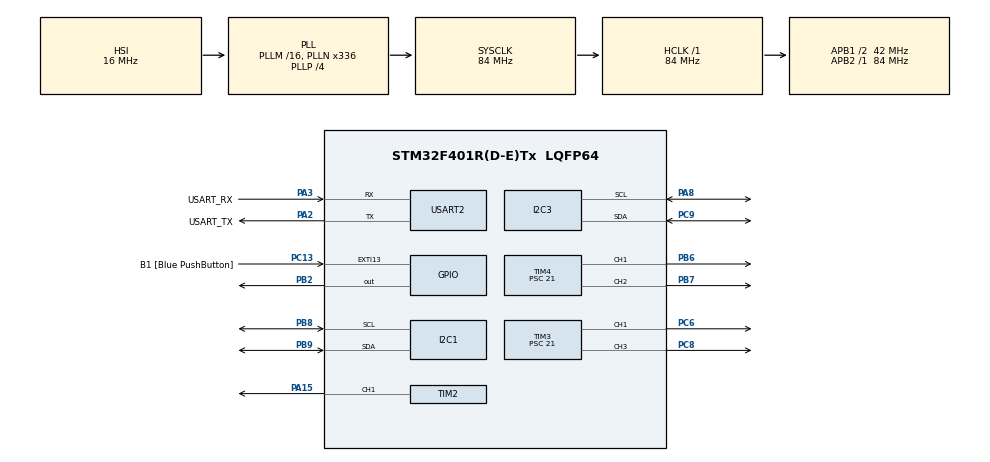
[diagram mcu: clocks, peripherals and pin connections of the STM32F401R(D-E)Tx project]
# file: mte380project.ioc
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Mcu.Family=STM32F4
Mcu.Name=STM32F401R(D-E)Tx
Mcu.Package=LQFP64
NVIC.EXTI15_10_IRQn=true\:0\:0\:false\:false\:true\:true\:true\:true
NVIC.PriorityGroup=NVIC_PRIORITYGROUP_0
PA13.GPIO_Label=TMS
PA13.Mode=Serial_Wire
PA13.Signal=SYS_JTMS-SWDIO
PA14.GPIO_Label=TCK
PA14.Mode=Serial_Wire
PA14.Signal=SYS_JTCK-SWCLK
PA15.Signal=S_TIM2_CH1_ETR
PA2.GPIO_Label=USART_TX
PA2.GPIO_Mode=GPIO_MODE_AF_PP
PA2.GPIO_PuPd=GPIO_NOPULL
PA2.GPIO_Speed=GPIO_SPEED_FREQ_LOW
PA2.Mode=Asynchronous
PA2.Signal=USART2_TX
PA3.GPIO_Label=USART_RX
PA3.GPIO_Mode=GPIO_MODE_AF_PP
PA3.GPIO_PuPd=GPIO_NOPULL
PA3.GPIO_Speed=GPIO_SPEED_FREQ_LOW
PA3.Mode=Asynchronous
PA3.Signal=USART2_RX
PA8.Mode=I2C
PA8.Signal=I2C3_SCL
PB2.Signal=GPIO_Output
PB3.GPIO_Label=SWO
PB3.Signal=SYS_JTDO-SWO
PB6.Signal=S_TIM4_CH1
PB7.Signal=S_TIM4_CH2
PB8.Mode=I2C
PB8.Signal=I2C1_SCL
PB9.Mode=I2C
PB9.Signal=I2C1_SDA
PC13-ANTI_TAMP.GPIO_Label=B1 [Blue PushButton]
PC13-ANTI_TAMP.GPIO_ModeDefaultEXTI=GPIO_MODE_IT_RISING_FALLING
PC13-ANTI_TAMP.GPIO_PuPd=GPIO_NOPULL
PC13-ANTI_TAMP.Signal=GPXTI13
PC14-OSC32_IN.Mode=LSE-External-Oscillator
PC14-OSC32_IN.Signal=RCC_OSC32_IN
PC15-OSC32_OUT.Mode=LSE-External-Oscillator
PC15-OSC32_OUT.Signal=RCC_OSC32_OUT
PC6.Signal=S_TIM3_CH1
PC8.Signal=S_TIM3_CH3
PC9.Mode=I2C
PC9.Signal=I2C3_SDA
PH0\ -\ OSC_IN.Mode=HSE-External-Clock-Source
PH0\ -\ OSC_IN.Signal=RCC_OSC_IN
PH1\ -\ OSC_OUT.Mode=HSE-External-Clock-Source
PH1\ -\ OSC_OUT.Signal=RCC_OSC_OUT
ProjectManager.HeapSize=0x200
ProjectManager.StackSize=0x400
ProjectManager.TargetToolchain=STM32CubeIDE
RCC.48MHZClocksFreq_Value=48000000
RCC.AHBFreq_Value=84000000
RCC.APB1CLKDivider=RCC_HCLK_DIV2
RCC.APB1Freq_Value=42000000
RCC.APB1TimFreq_Value=84000000
RCC.APB2Freq_Value=84000000
RCC.APB2TimFreq_Value=84000000
RCC.CortexFreq_Value=84000000
RCC.HCLKFreq_Value=84000000
RCC.HSE_VALUE=8000000
RCC.HSI_VALUE=16000000
RCC.PLLN=336
RCC.PLLP=RCC_PLLP_DIV4
RCC.PLLQ=7
RCC.SYSCLKFreq_VALUE=84000000
RCC.SYSCLKSource=RCC_SYSCLKSOURCE_PLLCLK
RCC.VCOOutputFreq_Value=336000000
SH.S_TIM2_CH1_ETR.0=TIM2_CH1,PWM Generation1 CH1
SH.S_TIM3_CH1.0=TIM3_CH1,PWM Generation1 CH1
SH.S_TIM3_CH3.0=TIM3_CH3,PWM Generation3 CH3
SH.S_TIM4_CH1.0=TIM4_CH1,PWM Generation1 CH1
SH.S_TIM4_CH2.0=TIM4_CH2,PWM Generation2 CH2
TIM1.Period=1000
TIM1.Prescaler=21
TIM2.Channel-PWM\ Generation1\ CH1=TIM_CHANNEL_1
TIM2.Period=100
TIM2.Prescaler=16800
TIM3.Channel-PWM\ Generation1\ CH1=TIM_CHANNEL_1
TIM3.Channel-PWM\ Generation3\ CH3=TIM_CHANNEL_3
TIM3.Period=1000
TIM3.Prescaler=21
TIM4.Channel-PWM\ Generation1\ CH1=TIM_CHANNEL_1
TIM4.Channel-PWM\ Generation2\ CH2=TIM_CHANNEL_2
TIM4.Period=1000
TIM4.Prescaler=21
USART2.VirtualMode=VM_ASYNC
VP_TIM1_VS_ClockSourceINT.Mode=Internal
VP_TIM2_VS_ClockSourceINT.Mode=Internal
VP_TIM3_VS_ClockSourceINT.Mode=Internal
VP_TIM4_VS_ClockSourceINT.Mode=Internal
board=NUCLEO-F401RE

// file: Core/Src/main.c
/* USER CODE BEGIN Header */
/**
  ******************************************************************************
  * @file           : main.c
  * @brief          : Main program body
  ******************************************************************************
  * @attention
  *
  * Copyright (c) 2023 STMicroelectronics.
  * All rights reserved.
  *
  * This software is licensed under terms that can be found in the LICENSE file
  * in the root directory of this software component.
  * If no LICENSE file comes with this software, it is provided AS-IS.
  *
  ******************************************************************************
  */
/* USER CODE END Header */
#include "main.h"

/* USER CODE BEGIN Includes */
#include <stdio.h>
#include <stdbool.h>
#include "tcs3472.h"
#include "fsm.h"
#include "control.h"
#include "common.h"
/* USER CODE END Includes */

/* USER CODE BEGIN PM */
#define COLOUR_COUNT_THRESH 3
#define SWLONG_TIME 1500U
/* USER CODE END PM */

I2C_HandleTypeDef hi2c1;
I2C_HandleTypeDef hi2c3;

TIM_HandleTypeDef htim1;
TIM_HandleTypeDef htim2;
TIM_HandleTypeDef htim3;
TIM_HandleTypeDef htim4;

UART_HandleTypeDef huart2;

/* USER CODE BEGIN PV */
volatile robot_state_e robotState = IDLE;
volatile static uint8_t swPinState = 1;
volatile static uint32_t swLastOnTime = 0;
/* USER CODE END PV */

void SystemClock_Config(void);
static void MX_GPIO_Init(void);
static void MX_USART2_UART_Init(void);
static void MX_TIM3_Init(void);
static void MX_TIM4_Init(void);
static void MX_TIM1_Init(void);
static void MX_I2C1_Init(void);
static void MX_TIM2_Init(void);
static void MX_I2C3_Init(void);

static void wait_for_button_press() {
    while (1) {
        while(HAL_GPIO_ReadPin(SW_PORT, SW_PIN));
        HAL_Delay(10);
        if (HAL_GPIO_ReadPin(SW_PORT, SW_PIN) == 0)
            return;
    }
}

int main(void)
{

  /* MCU Configuration--------------------------------------------------------*/

  /* Reset of all peripherals, Initializes the Flash interface and the Systick. */
  HAL_Init();

  /* Configure the system clock */
  SystemClock_Config();

  /* Initialize all configured peripherals */
  MX_GPIO_Init();
  MX_USART2_UART_Init();
  MX_TIM3_Init();
  MX_TIM4_Init();
  MX_TIM1_Init();
  MX_I2C1_Init();
  MX_TIM2_Init();
  MX_I2C3_Init();
  /* USER CODE BEGIN 2 */
  // Colour sensor initialization
  tcs3472_init(LEFT_COLOUR_SENSOR);
  tcs3472_init(RIGHT_COLOUR_SENSOR);

  // Motor initialization
  init_motors();

  /* USER CODE END 2 */

  /* Infinite loop */
  while (1)
  {

    /* USER CODE BEGIN 3 */
    switch(robotState) {
      case CALIB: {
        calibration_sequence();
        transition_state(&robotState, CALIB_CMPL);
        break;
      }
      case IDLE: {
    	  motor_command(0, 0);
        HAL_Delay(10);
        break;
      }
      case LFF: {
    	/*
        float leftColourData[3];
        float rightColourData[3];

        tcs3472_get_colour_data(LEFT_COLOUR_SENSOR, &leftColourData);
        tcs3472_get_colour_data(RIGHT_COLOUR_SENSOR, &rightColourData);

        serial_print("Left colour data: %f, %f, %f\r\n", leftColourData[0], leftColourData[1], leftColourData[2]);
        serial_print("Right colour data: %f, %f, %f\r\n", rightColourData[0], rightColourData[1], rightColourData[2]);
        serial_print("\r\n");
        HAL_Delay(300);
        */
        call_lf_sequence();
        break;
      }
      case GRPG: {
        call_grpg_sequence();
        transition_state(&robotState, GRPG_CMPL);
        break;
      }
    }
  }
  /* USER CODE END 3 */
}

void SystemClock_Config(void)
{
  RCC_OscInitTypeDef RCC_OscInitStruct = {0};
  RCC_ClkInitTypeDef RCC_ClkInitStruct = {0};

  /** Configure the main internal regulator output voltage
  */
  __HAL_RCC_PWR_CLK_ENABLE();
  __HAL_PWR_VOLTAGESCALING_CONFIG(PWR_REGULATOR_VOLTAGE_SCALE2);

  /** Initializes the RCC Oscillators according to the specified parameters
  * in the RCC_OscInitTypeDef structure.
  */
  RCC_OscInitStruct.OscillatorType = RCC_OSCILLATORTYPE_HSI;
  RCC_OscInitStruct.HSIState = RCC_HSI_ON;
  RCC_OscInitStruct.HSICalibrationValue = RCC_HSICALIBRATION_DEFAULT;
  RCC_OscInitStruct.PLL.PLLState = RCC_PLL_ON;
  RCC_OscInitStruct.PLL.PLLSource = RCC_PLLSOURCE_HSI;
  RCC_OscInitStruct.PLL.PLLM = 16;
  RCC_OscInitStruct.PLL.PLLN = 336;
  RCC_OscInitStruct.PLL.PLLP = RCC_PLLP_DIV4;
  RCC_OscInitStruct.PLL.PLLQ = 7;
  if (HAL_RCC_OscConfig(&RCC_OscInitStruct) != HAL_OK)
  {
    Error_Handler();
  }

  /** Initializes the CPU, AHB and APB buses clocks
  */
  RCC_ClkInitStruct.ClockType = RCC_CLOCKTYPE_HCLK|RCC_CLOCKTYPE_SYSCLK
                              |RCC_CLOCKTYPE_PCLK1|RCC_CLOCKTYPE_PCLK2;
  RCC_ClkInitStruct.SYSCLKSource = RCC_SYSCLKSOURCE_PLLCLK;
  RCC_ClkInitStruct.AHBCLKDivider = RCC_SYSCLK_DIV1;
  RCC_ClkInitStruct.APB1CLKDivider = RCC_HCLK_DIV2;
  RCC_ClkInitStruct.APB2CLKDivider = RCC_HCLK_DIV1;

  if (HAL_RCC_ClockConfig(&RCC_ClkInitStruct, FLASH_LATENCY_2) != HAL_OK)
  {
    Error_Handler();
  }
}

static void MX_I2C1_Init(void)
{

  hi2c1.Instance = I2C1;
  hi2c1.Init.ClockSpeed = 100000;
  hi2c1.Init.DutyCycle = I2C_DUTYCYCLE_2;
  hi2c1.Init.OwnAddress1 = 0;
  hi2c1.Init.AddressingMode = I2C_ADDRESSINGMODE_7BIT;
  hi2c1.Init.DualAddressMode = I2C_DUALADDRESS_DISABLE;
  hi2c1.Init.OwnAddress2 = 0;
  hi2c1.Init.GeneralCallMode = I2C_GENERALCALL_DISABLE;
  hi2c1.Init.NoStretchMode = I2C_NOSTRETCH_DISABLE;
  if (HAL_I2C_Init(&hi2c1) != HAL_OK)
  {
    Error_Handler();
  }

}

static void MX_I2C3_Init(void)
{

  hi2c3.Instance = I2C3;
  hi2c3.Init.ClockSpeed = 100000;
  hi2c3.Init.DutyCycle = I2C_DUTYCYCLE_2;
  hi2c3.Init.OwnAddress1 = 0;
  hi2c3.Init.AddressingMode = I2C_ADDRESSINGMODE_7BIT;
  hi2c3.Init.DualAddressMode = I2C_DUALADDRESS_DISABLE;
  hi2c3.Init.OwnAddress2 = 0;
  hi2c3.Init.GeneralCallMode = I2C_GENERALCALL_DISABLE;
  hi2c3.Init.NoStretchMode = I2C_NOSTRETCH_DISABLE;
  if (HAL_I2C_Init(&hi2c3) != HAL_OK)
  {
    Error_Handler();
  }

}

static void MX_TIM1_Init(void)
{

  TIM_ClockConfigTypeDef sClockSourceConfig = {0};
  TIM_MasterConfigTypeDef sMasterConfig = {0};

  htim1.Instance = TIM1;
  htim1.Init.Prescaler = 21;
  htim1.Init.CounterMode = TIM_COUNTERMODE_UP;
  htim1.Init.Period = 1000;
  htim1.Init.ClockDivision = TIM_CLOCKDIVISION_DIV1;
  htim1.Init.RepetitionCounter = 0;
  htim1.Init.AutoReloadPreload = TIM_AUTORELOAD_PRELOAD_DISABLE;
  if (HAL_TIM_Base_Init(&htim1) != HAL_OK)
  {
    Error_Handler();
  }
  sClockSourceConfig.ClockSource = TIM_CLOCKSOURCE_INTERNAL;
  if (HAL_TIM_ConfigClockSource(&htim1, &sClockSourceConfig) != HAL_OK)
  {
    Error_Handler();
  }
  sMasterConfig.MasterOutputTrigger = TIM_TRGO_RESET;
  sMasterConfig.MasterSlaveMode = TIM_MASTERSLAVEMODE_DISABLE;
  if (HAL_TIMEx_MasterConfigSynchronization(&htim1, &sMasterConfig) != HAL_OK)
  {
    Error_Handler();
  }

}

static void MX_TIM2_Init(void)
{

  TIM_ClockConfigTypeDef sClockSourceConfig = {0};
  TIM_MasterConfigTypeDef sMasterConfig = {0};
  TIM_OC_InitTypeDef sConfigOC = {0};

  htim2.Instance = TIM2;
  htim2.Init.Prescaler = 16800;
  htim2.Init.CounterMode = TIM_COUNTERMODE_UP;
  htim2.Init.Period = 100;
  htim2.Init.ClockDivision = TIM_CLOCKDIVISION_DIV1;
  htim2.Init.AutoReloadPreload = TIM_AUTORELOAD_PRELOAD_DISABLE;
  if (HAL_TIM_Base_Init(&htim2) != HAL_OK)
  {
    Error_Handler();
  }
  sClockSourceConfig.ClockSource = TIM_CLOCKSOURCE_INTERNAL;
  if (HAL_TIM_ConfigClockSource(&htim2, &sClockSourceConfig) != HAL_OK)
  {
    Error_Handler();
  }
  if (HAL_TIM_PWM_Init(&htim2) != HAL_OK)
  {
    Error_Handler();
  }
  sMasterConfig.MasterOutputTrigger = TIM_TRGO_RESET;
  sMasterConfig.MasterSlaveMode = TIM_MASTERSLAVEMODE_DISABLE;
  if (HAL_TIMEx_MasterConfigSynchronization(&htim2, &sMasterConfig) != HAL_OK)
  {
    Error_Handler();
  }
  sConfigOC.OCMode = TIM_OCMODE_PWM1;
  sConfigOC.Pulse = 0;
  sConfigOC.OCPolarity = TIM_OCPOLARITY_HIGH;
  sConfigOC.OCFastMode = TIM_OCFAST_DISABLE;
  if (HAL_TIM_PWM_ConfigChannel(&htim2, &sConfigOC, TIM_CHANNEL_1) != HAL_OK)
  {
    Error_Handler();
  }
  HAL_TIM_MspPostInit(&htim2);

}

static void MX_TIM3_Init(void)
{

  TIM_ClockConfigTypeDef sClockSourceConfig = {0};
  TIM_MasterConfigTypeDef sMasterConfig = {0};
  TIM_OC_InitTypeDef sConfigOC = {0};

  htim3.Instance = TIM3;
  htim3.Init.Prescaler = 21;
  htim3.Init.CounterMode = TIM_COUNTERMODE_UP;
  htim3.Init.Period = 1000;
  htim3.Init.ClockDivision = TIM_CLOCKDIVISION_DIV1;
  htim3.Init.AutoReloadPreload = TIM_AUTORELOAD_PRELOAD_DISABLE;
  if (HAL_TIM_Base_Init(&htim3) != HAL_OK)
  {
    Error_Handler();
  }
  sClockSourceConfig.ClockSource = TIM_CLOCKSOURCE_INTERNAL;
  if (HAL_TIM_ConfigClockSource(&htim3, &sClockSourceConfig) != HAL_OK)
  {
    Error_Handler();
  }
  if (HAL_TIM_PWM_Init(&htim3) != HAL_OK)
  {
    Error_Handler();
  }
  sMasterConfig.MasterOutputTrigger = TIM_TRGO_RESET;
  sMasterConfig.MasterSlaveMode = TIM_MASTERSLAVEMODE_DISABLE;
  if (HAL_TIMEx_MasterConfigSynchronization(&htim3, &sMasterConfig) != HAL_OK)
  {
    Error_Handler();
  }
  sConfigOC.OCMode = TIM_OCMODE_PWM1;
  sConfigOC.Pulse = 0;
  sConfigOC.OCPolarity = TIM_OCPOLARITY_HIGH;
  sConfigOC.OCFastMode = TIM_OCFAST_DISABLE;
  if (HAL_TIM_PWM_ConfigChannel(&htim3, &sConfigOC, TIM_CHANNEL_1) != HAL_OK)
  {
    Error_Handler();
  }
  if (HAL_TIM_PWM_ConfigChannel(&htim3, &sConfigOC, TIM_CHANNEL_3) != HAL_OK)
  {
    Error_Handler();
  }
  HAL_TIM_MspPostInit(&htim3);

}

static void MX_TIM4_Init(void)
{

  TIM_ClockConfigTypeDef sClockSourceConfig = {0};
  TIM_MasterConfigTypeDef sMasterConfig = {0};
  TIM_OC_InitTypeDef sConfigOC = {0};

  htim4.Instance = TIM4;
  htim4.Init.Prescaler = 21;
  htim4.Init.CounterMode = TIM_COUNTERMODE_UP;
  htim4.Init.Period = 1000;
  htim4.Init.ClockDivision = TIM_CLOCKDIVISION_DIV1;
  htim4.Init.AutoReloadPreload = TIM_AUTORELOAD_PRELOAD_DISABLE;
  if (HAL_TIM_Base_Init(&htim4) != HAL_OK)
  {
    Error_Handler();
  }
  sClockSourceConfig.ClockSource = TIM_CLOCKSOURCE_INTERNAL;
  if (HAL_TIM_ConfigClockSource(&htim4, &sClockSourceConfig) != HAL_OK)
  {
    Error_Handler();
  }
  if (HAL_TIM_PWM_Init(&htim4) != HAL_OK)
  {
    Error_Handler();
  }
  sMasterConfig.MasterOutputTrigger = TIM_TRGO_RESET;
  sMasterConfig.MasterSlaveMode = TIM_MASTERSLAVEMODE_DISABLE;
  if (HAL_TIMEx_MasterConfigSynchronization(&htim4, &sMasterConfig) != HAL_OK)
  {
    Error_Handler();
  }
  sConfigOC.OCMode = TIM_OCMODE_PWM1;
  sConfigOC.Pulse = 0;
  sConfigOC.OCPolarity = TIM_OCPOLARITY_HIGH;
  sConfigOC.OCFastMode = TIM_OCFAST_DISABLE;
  if (HAL_TIM_PWM_ConfigChannel(&htim4, &sConfigOC, TIM_CHANNEL_1) != HAL_OK)
  {
    Error_Handler();
  }
  if (HAL_TIM_PWM_ConfigChannel(&htim4, &sConfigOC, TIM_CHANNEL_2) != HAL_OK)
  {
    Error_Handler();
  }
  HAL_TIM_MspPostInit(&htim4);

}

static void MX_USART2_UART_Init(void)
{

  huart2.Instance = USART2;
  huart2.Init.BaudRate = 115200;
  huart2.Init.WordLength = UART_WORDLENGTH_8B;
  huart2.Init.StopBits = UART_STOPBITS_1;
  huart2.Init.Parity = UART_PARITY_NONE;
  huart2.Init.Mode = UART_MODE_TX_RX;
  huart2.Init.HwFlowCtl = UART_HWCONTROL_NONE;
  huart2.Init.OverSampling = UART_OVERSAMPLING_16;
  if (HAL_UART_Init(&huart2) != HAL_OK)
  {
    Error_Handler();
  }

}

static void MX_GPIO_Init(void)
{
  GPIO_InitTypeDef GPIO_InitStruct = {0};

  /* GPIO Ports Clock Enable */
  __HAL_RCC_GPIOC_CLK_ENABLE();
  __HAL_RCC_GPIOH_CLK_ENABLE();
  __HAL_RCC_GPIOA_CLK_ENABLE();
  __HAL_RCC_GPIOB_CLK_ENABLE();

  /*Configure GPIO pin Output Level */
  HAL_GPIO_WritePin(GPIOB, GPIO_PIN_2, GPIO_PIN_RESET);

  /*Configure GPIO pin : B1_Pin */
  GPIO_InitStruct.Pin = B1_Pin;
  GPIO_InitStruct.Mode = GPIO_MODE_IT_RISING_FALLING;
  GPIO_InitStruct.Pull = GPIO_NOPULL;
  HAL_GPIO_Init(B1_GPIO_Port, &GPIO_InitStruct);

  /*Configure GPIO pin : PB2 */
  GPIO_InitStruct.Pin = GPIO_PIN_2;
  GPIO_InitStruct.Mode = GPIO_MODE_OUTPUT_PP;
  GPIO_InitStruct.Pull = GPIO_NOPULL;
  GPIO_InitStruct.Speed = GPIO_SPEED_FREQ_LOW;
  HAL_GPIO_Init(GPIOB, &GPIO_InitStruct);

  /* EXTI interrupt init*/
  HAL_NVIC_SetPriority(EXTI15_10_IRQn, 0, 0);
  HAL_NVIC_EnableIRQ(EXTI15_10_IRQn);

}

/* USER CODE BEGIN 4 */

void HAL_GPIO_EXTI_Callback(uint16_t GPIO_Pin) {
  if (GPIO_Pin == SW_PIN) {
    // Debounce
    uint8_t i=0;
    while (i<70)
      i++;

    // Read new state
    uint8_t newState = HAL_GPIO_ReadPin(SW_PORT, SW_PIN);

    // If the state has changed after debouncing, transition state or store the ON time
    if (newState != swPinState) {
      uint32_t currTime = HAL_GetTick();
      if (!newState)
        swLastOnTime = HAL_GetTick();
      else if (currTime-swLastOnTime > SWLONG_TIME)
        transition_state(&robotState, SWLONG);
      else if (currTime-swLastOnTime > 100)
        transition_state(&robotState, SW);

      swPinState = newState;
    }

  }
}

/* USER CODE END 4 */

void Error_Handler(void)
{
  /* USER CODE BEGIN Error_Handler_Debug */
  HAL_GPIO_WritePin(LD2_GPIO_Port, LD2_Pin, GPIO_PIN_SET);
  /* User can add his own implementation to report the HAL error return state */
  __disable_irq();
  while (1)
  {
  }
  /* USER CODE END Error_Handler_Debug */
}
